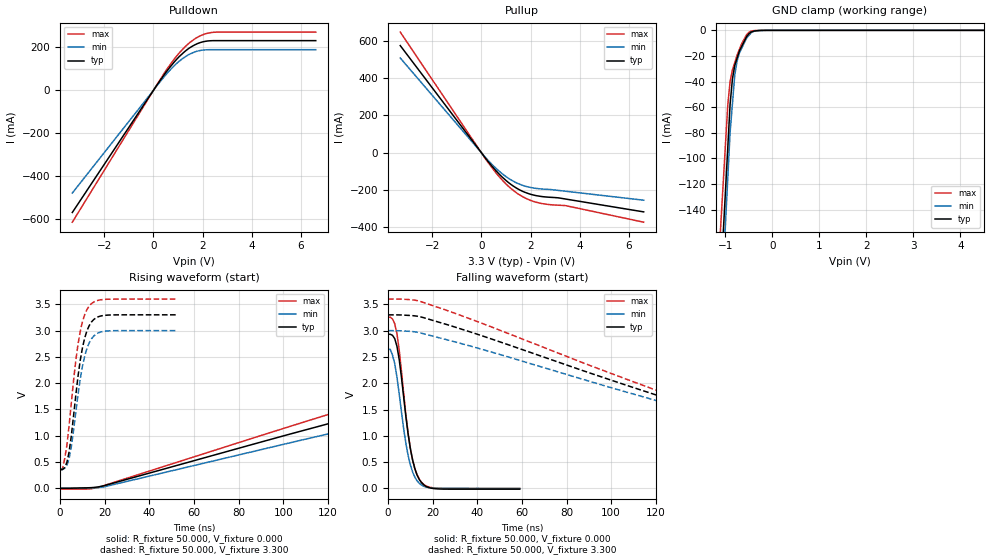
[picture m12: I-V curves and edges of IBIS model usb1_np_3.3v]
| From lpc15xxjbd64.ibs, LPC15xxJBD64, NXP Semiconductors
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[Model]   usb1_np_3.3v
Model_type I/O
Vinl=9.900E-01
Vinh=2.310E+00
Vref=0.000E+00
Rref=1.000E+06
Cref=0.000E+00
Vmeas=1.650E+00
C_comp   2.000E-12   2.000E-12   2.000E-12
[Voltage Range]   3.300E+00   3.000E+00   3.600E+00
[POWER Clamp Reference]   3.300E+00   3.000E+00   3.600E+00
[GND Clamp Reference]   0.000E+00   0.000E+00   0.000E+00
[Pullup Reference]   3.300E+00   3.000E+00   3.600E+00
[Pulldown Reference]   0.000E+00   0.000E+00   0.000E+00
[Temperature Range]   25   85   -40
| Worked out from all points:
|   slope of the pulldown table from 0 to 0.495 V, typ, clamps not added: 6.06 ohm
|   slope of the pullup table from 0 to 0.495 V, typ, clamps not added: 6.04 ohm
|   GND clamp passes 1 mA (typ) near -0.43 V on its own axis
|   rising waveform, R_fixture 50.000, V_fixture 0.000: 20-80 % time 164ns typ, 173ns min, 155ns max; typ from 0 V to 2.96 V
|   falling waveform, R_fixture 50.000, V_fixture 0.000: 20-80 % time 5.51ns typ, 5.54ns min, 5.45ns max; typ from 2.93 V to -0.014 V
|   rising waveform, R_fixture 50.000, V_fixture 3.300: 20-80 % time 5.37ns typ, 5.43ns min, 5.35ns max; typ from 0.352 V to 3.3 V
|   falling waveform, R_fixture 50.000, V_fixture 3.300: 20-80 % time 127ns typ, 132ns min, 123ns max; typ from 3.3 V to 0.352 V
[GND Clamp]
-3.3V     -1.714A    -1.818A    -1.535A
-950mV    -92.32mA   -116.3mA   -58.79mA
-900mV    -57.82mA   -80.06mA   -40.13mA
-850mV    -38.01mA   -57.45mA   -30.95mA
-800mV    -27.38mA   -34.83mA   -25.11mA
-750mV    -21.67mA   -23.95mA   -19.28mA
-700mV    -15.97mA   -17.62mA   -14.76mA
-550mV    -4.988mA   -6.167mA   -3.507mA
-450mV    -1.299mA   -1.865mA   -600.8uA
-350mV    -373.3uA   -390uA     -110.4uA
-125mV    -16.52uA   -11.27uA   -3.965uA
6.6V      10.68uA    9.931uA    4.357uA
[Power Clamp]
-3.3V     0A         0A         0A
0V        0A         0A         0A
3.3V      0A         0A         0A
6.6V      0A         0A         0A
[Pullup]
-3.3V     573.9mA    507.4mA    646.2mA
260mV     -45.14mA   -39.12mA   -50.35mA
720mV     -114.4mA   -98.69mA   -128mA
1.02V     -151.1mA   -130mA     -170.2mA
1.28V     -177.4mA   -151.7mA   -200.2mA
1.8V      -213.8mA   -180.2mA   -244.2mA
2.34V     -232.8mA   -193.1mA   -269.2mA
2.74V     -238.6mA   -196.9mA   -277.9mA
3.44V     -248.8mA   -206.9mA   -284.2mA
6.6V      -317.3mA   -254.6mA   -372.5mA
[Pulldown]
-3.3V     -569.7mA   -479mA     -615.1mA
420mV     69.92mA    61.22mA    76.39mA
1V        151.6mA    131.1mA    167.7mA
1.48V     198.8mA    169.2mA    223.1mA
1.94V     224mA      186.5mA    256.1mA
2.44V     231.7mA    189.6mA    270.6mA
6.6V      231.7mA    189.6mA    271.6mA
[Rising Waveform]
R_fixture = 50.000
V_fixture = 0.000
V_fixture_min = 0.000
V_fixture_max = 0.000
|  time   V(typ)   V(min)   V(max)
0s        82.46uV    62.66uV    -17.02mV
17ns      24.36mV    10.81mV    15.03mV
112ns     1.134V     953.9mV    1.296V
168ns     1.756V     1.488V     2.007V
223ns     2.308V     1.964V     2.631V
254ns     2.558V     2.194V     2.889V
293ns     2.746V     2.391V     3.061V
352ns     2.872V     2.538V     3.161V
417ns     2.924V     2.605V     3.203V
513ns     2.955V     2.643V     3.228V
[Falling Waveform]
R_fixture = 50.000
V_fixture = 0.000
V_fixture_min = 0.000
V_fixture_max = 0.000
|  time   V(typ)   V(min)   V(max)
0s        2.931V     2.643V     3.255V
2ns       2.91V      2.533V     3.221V
4ns       2.698V     2.112V     2.936V
5ns       2.449V     1.795V     2.627V
8ns       1.359V     852.2mV    1.398V
10ns      753.5mV    446.1mV    762.7mV
12ns      374.8mV    215mV      378.2mV
15ns      108.7mV    63.37mV    116mV
22ns      -8.347mV   2.59mV     5.02mV
59ns      -13.87mV   62.66uV    18.21uV
[Rising Waveform]
R_fixture = 50.000
V_fixture = 3.300
V_fixture_min = 3.000
V_fixture_max = 3.600
|  time   V(typ)   V(min)   V(max)
0s        351.9mV    365.5mV    361.3mV
1ns       353.9mV    365.5mV    360.4mV
2ns       389.9mV    379.4mV    553.4mV
4ns       689.2mV    561.4mV    1.191V
6ns       1.375V     1.095V     2.047V
8ns       2.128V     1.78V      2.74V
10ns      2.674V     2.324V     3.17V
13ns      3.093V     2.766V     3.467V
20ns      3.29V      2.988V     3.594V
52ns      3.3V       3V         3.6V
[Falling Waveform]
R_fixture = 50.000
V_fixture = 3.300
V_fixture_min = 3.000
V_fixture_max = 3.600
|  time   V(typ)   V(min)   V(max)
0s        3.3V       3V         3.6V
12ns      3.281V     2.977V     3.579V
24ns      3.145V     2.852V     3.419V
144ns     1.448V     1.388V     1.496V
184ns     925mV      936.1mV    906.2mV
206ns     672.8mV    712.6mV    636.6mV
225ns     529mV      571.6mV    504.3mV
249ns     437.8mV    471.3mV    427.9mV
285ns     381.7mV    403.2mV    384.3mV
339ns     351.9mV    365.5mV    361.3mV
[Ramp]
dV/dt_r   1.7668E+00/1.6350E-07   1.5807E+00/1.7195E-07   1.9467E+00/1.5631E-07
dV/dt_f   1.7689E+00/1.2734E-07   1.5807E+00/1.3210E-07   1.9432E+00/1.2325E-07
R_load = 50
